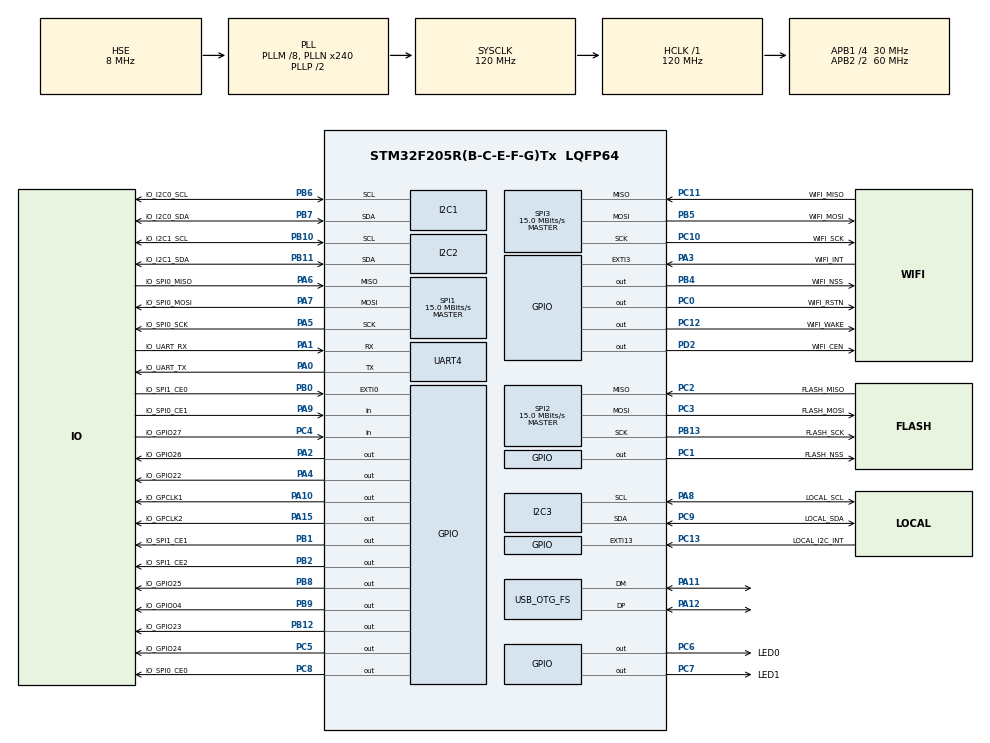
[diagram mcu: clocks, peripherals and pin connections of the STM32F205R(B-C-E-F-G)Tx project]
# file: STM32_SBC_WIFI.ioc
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ADC1.Channel-1\#ChannelRegularConversion=ADC_CHANNEL_VBAT
ADC1.NbrOfConversionFlag=1
ADC1.master=1
FREERTOS.Tasks01=main_task,24,4192,StartMainTask,Default,NULL,Dynamic,NULL,NULL;wifi_task,24,1024,StartWifiTask,Default,NULL,Dynamic,NULL,NULL;lora_task,24,512,StartLoraTask,Default,NULL,Dynamic,NULL,NULL
FREERTOS.configCHECK_FOR_STACK_OVERFLOW=2
FREERTOS.configMAX_TASK_NAME_LEN=16
FREERTOS.configMINIMAL_STACK_SIZE=256
FREERTOS.configTOTAL_HEAP_SIZE=100000
FREERTOS.configUSE_MALLOC_FAILED_HOOK=1
FREERTOS.configUSE_NEWLIB_REENTRANT=1
Mcu.Family=STM32F2
Mcu.Name=STM32F205R(B-C-E-F-G)Tx
Mcu.Package=LQFP64
NVIC.EXTI15_10_IRQn=true\:5\:0\:false\:false\:true\:true\:true\:true\:true
NVIC.EXTI3_IRQn=true\:5\:0\:false\:false\:true\:true\:true\:true\:true
NVIC.PriorityGroup=NVIC_PRIORITYGROUP_4
NVIC.RCC_IRQn=true\:5\:0\:false\:false\:true\:true\:true\:false\:true
NVIC.TIM1_UP_TIM10_IRQn=true\:15\:0\:false\:false\:true\:false\:false\:true\:true
NVIC.TIM6_DAC_IRQn=true\:5\:0\:false\:false\:true\:true\:true\:true\:true
NVIC.TIM7_IRQn=true\:5\:0\:false\:false\:true\:true\:true\:true\:true
NVIC.TimeBase=TIM1_UP_TIM10_IRQn
NVIC.TimeBaseIP=TIM1
PA0-WKUP.GPIO_Label=IO_UART_TX
PA0-WKUP.Mode=Asynchronous
PA0-WKUP.Signal=UART4_TX
PA1.GPIO_Label=IO_UART_RX
PA1.Mode=Asynchronous
PA1.Signal=UART4_RX
PA10.GPIO_Label=IO_GPCLK1
PA10.Signal=GPIO_Output
PA11.Mode=Device_Only
PA11.Signal=USB_OTG_FS_DM
PA12.Mode=Device_Only
PA12.Signal=USB_OTG_FS_DP
PA13.Mode=Serial_Wire
PA13.Signal=SYS_JTMS-SWDIO
PA14.Mode=Serial_Wire
PA14.Signal=SYS_JTCK-SWCLK
PA15.GPIO_Label=IO_GPCLK2
PA15.Signal=GPIO_Output
PA2.GPIO_Label=IO_GPIO26
PA2.Signal=GPIO_Output
PA3.GPIO_Label=WIFI_INT
PA3.GPIO_ModeDefaultEXTI=GPIO_MODE_IT_FALLING
PA3.GPIO_PuPd=GPIO_PULLUP
PA3.Signal=GPXTI3
PA4.GPIO_Label=IO_GPIO22
PA4.Signal=GPIO_Output
PA5.GPIO_Label=IO_SPI0_SCK
PA5.GPIO_Speed=GPIO_SPEED_FREQ_LOW
PA5.Mode=Full_Duplex_Master
PA5.Signal=SPI1_SCK
PA6.GPIO_Label=IO_SPI0_MISO
PA6.GPIO_Speed=GPIO_SPEED_FREQ_LOW
PA6.Mode=Full_Duplex_Master
PA6.Signal=SPI1_MISO
PA7.GPIO_Label=IO_SPI0_MOSI
PA7.GPIO_Speed=GPIO_SPEED_FREQ_LOW
PA7.Mode=Full_Duplex_Master
PA7.Signal=SPI1_MOSI
PA8.GPIO_Label=LOCAL_SCL
PA8.GPIO_Pu=GPIO_PULLUP
PA8.Mode=I2C
PA8.Signal=I2C3_SCL
PA9.GPIO_Label=IO_SPI0_CE1
PA9.GPIO_PuPd=GPIO_PULLUP
PA9.Signal=GPIO_Input
PB0.GPIO_Label=IO_SPI1_CE0
PB0.GPIO_PuPd=GPIO_PULLUP
PB0.Signal=GPXTI0
PB1.GPIO_Label=IO_SPI1_CE1
PB1.Signal=GPIO_Output
PB10.GPIO_Label=IO_I2C1_SCL
PB10.GPIO_Pu=GPIO_PULLUP
PB10.Mode=I2C
PB10.Signal=I2C2_SCL
PB11.GPIO_Label=IO_I2C1_SDA
PB11.GPIO_Pu=GPIO_PULLUP
PB11.Mode=I2C
PB11.Signal=I2C2_SDA
PB12.GPIO_Label=IO_GPIO23
PB12.GPIO_ModeDefaultOutputPP=GPIO_MODE_OUTPUT_OD
PB12.GPIO_PuPd=GPIO_NOPULL
PB12.Signal=GPIO_Output
PB13.GPIO_Label=FLASH_SCK
PB13.GPIO_Speed=GPIO_SPEED_FREQ_LOW
PB13.Mode=Full_Duplex_Master
PB13.Signal=SPI2_SCK
PB14.GPIO_Label=IO_PWM0
PB14.Signal=S_TIM12_CH1
PB15.GPIO_Label=IO_PWM1
PB15.Signal=S_TIM12_CH2
PB2.GPIO_Label=IO_SPI1_CE2
PB2.Signal=GPIO_Output
PB3.Signal=SYS_JTDO-SWO
PB4.GPIO_Label=WIFI_NSS
PB4.GPIO_Speed=GPIO_SPEED_FREQ_VERY_HIGH
PB4.PinState=GPIO_PIN_SET
PB4.Signal=GPIO_Output
PB5.GPIO_Label=WIFI_MOSI
PB5.GPIO_PuPd=GPIO_PULLDOWN
PB5.Mode=Full_Duplex_Master
PB5.Signal=SPI3_MOSI
PB6.GPIO_Label=IO_I2C0_SCL
PB6.GPIO_Pu=GPIO_PULLUP
PB6.Mode=I2C
PB6.Signal=I2C1_SCL
PB7.GPIO_Label=IO_I2C0_SDA
PB7.GPIO_Pu=GPIO_PULLUP
PB7.Mode=I2C
PB7.Signal=I2C1_SDA
PB8.GPIO_Label=IO_GPIO25
PB8.Signal=GPIO_Output
PB9.GPIO_Label=IO_GPIO04
PB9.Signal=GPIO_Output
PC0.GPIO_Label=WIFI_RSTN
PC0.Signal=GPIO_Output
PC1.GPIO_Label=FLASH_NSS
PC1.GPIO_Speed=GPIO_SPEED_FREQ_VERY_HIGH
PC1.PinState=GPIO_PIN_SET
PC1.Signal=GPIO_Output
PC10.GPIO_Label=WIFI_SCK
PC10.GPIO_PuPd=GPIO_PULLDOWN
PC10.GPIO_Speed=GPIO_SPEED_FREQ_VERY_HIGH
PC10.Mode=Full_Duplex_Master
PC10.Signal=SPI3_SCK
PC11.GPIO_Label=WIFI_MISO
PC11.GPIO_PuPd=GPIO_PULLDOWN
PC11.Mode=Full_Duplex_Master
PC11.Signal=SPI3_MISO
PC12.GPIO_Label=WIFI_WAKE
PC12.PinState=GPIO_PIN_RESET
PC12.Signal=GPIO_Output
PC13.GPIO_Label=LOCAL_I2C_INT
PC13.GPIO_ModeDefaultEXTI=GPIO_MODE_IT_FALLING
PC13.GPIO_PuPd=GPIO_PULLUP
PC13.Signal=GPXTI13
PC14-OSC32_IN.Mode=LSE-External-Oscillator
PC14-OSC32_IN.Signal=RCC_OSC32_IN
PC15-OSC32_OUT.Mode=LSE-External-Oscillator
PC15-OSC32_OUT.Signal=RCC_OSC32_OUT
PC2.GPIO_Label=FLASH_MISO
PC2.GPIO_Speed=GPIO_SPEED_FREQ_LOW
PC2.Mode=Full_Duplex_Master
PC2.Signal=SPI2_MISO
PC3.GPIO_Label=FLASH_MOSI
PC3.GPIO_Speed=GPIO_SPEED_FREQ_LOW
PC3.Mode=Full_Duplex_Master
PC3.Signal=SPI2_MOSI
PC4.GPIO_Label=IO_GPIO27
PC4.GPIO_PuPd=GPIO_PULLUP
PC4.Signal=GPIO_Input
PC5.GPIO_Label=IO_GPIO24
PC5.GPIO_ModeDefaultOutputPP=GPIO_MODE_OUTPUT_OD
PC5.GPIO_PuPd=GPIO_NOPULL
PC5.Signal=GPIO_Output
PC6.GPIO_Label=LED0
PC6.GPIO_ModeDefaultOutputPP=GPIO_MODE_OUTPUT_OD
PC6.GPIO_PuPd=GPIO_NOPULL
PC6.PinState=GPIO_PIN_SET
PC6.Signal=GPIO_Output
PC7.GPIO_Label=LED1
PC7.GPIO_ModeDefaultOutputPP=GPIO_MODE_OUTPUT_OD
PC7.GPIO_PuPd=GPIO_NOPULL
PC7.PinState=GPIO_PIN_SET
PC7.Signal=GPIO_Output
PC8.GPIO_Label=IO_SPI0_CE0
PC8.Signal=GPIO_Output
PC9.GPIO_Label=LOCAL_SDA
PC9.GPIO_Pu=GPIO_PULLUP
PC9.Mode=I2C
PC9.Signal=I2C3_SDA
PD2.GPIO_Label=WIFI_CEN
PD2.Signal=GPIO_Output
PH0-OSC_IN.Mode=HSE-External-Oscillator
PH0-OSC_IN.Signal=RCC_OSC_IN
PH1-OSC_OUT.Mode=HSE-External-Oscillator
PH1-OSC_OUT.Signal=RCC_OSC_OUT
ProjectManager.HeapSize=0x0
ProjectManager.StackSize=0x100
ProjectManager.TargetToolchain=STM32CubeIDE
RCC.48MHZClocksFreq_Value=48000000
RCC.AHBFreq_Value=120000000
RCC.APB1CLKDivider=RCC_HCLK_DIV4
RCC.APB1Freq_Value=30000000
RCC.APB1TimFreq_Value=60000000
RCC.APB2CLKDivider=RCC_HCLK_DIV2
RCC.APB2Freq_Value=60000000
RCC.APB2TimFreq_Value=120000000
RCC.CortexFreq_Value=120000000
RCC.HCLKFreq_Value=120000000
RCC.HSE_VALUE=8000000
RCC.HSI_VALUE=16000000
RCC.MSIAutoCalibration=DISABLED
RCC.MSICalibrationValue=0
RCC.PLLM=8
RCC.PLLN=240
RCC.PLLQ=5
RCC.PLLSourceVirtual=RCC_PLLSOURCE_HSE
RCC.PWR_Regulator_Voltage_Scale=PWR_REGULATOR_VOLTAGE_SCALE1
RCC.RCC_RTC_Clock_SourceVirtual=RCC_RTCCLKSOURCE_LSE
RCC.SYSCLKFreq_VALUE=120000000
RCC.SYSCLKSource=RCC_SYSCLKSOURCE_PLLCLK
RCC.VCOOutputFreq_Value=240000000
SH.S_TIM12_CH1.0=TIM12_CH1
SH.S_TIM12_CH2.0=TIM12_CH2
SPI1.BaudRatePrescaler=SPI_BAUDRATEPRESCALER_4
SPI1.CalculateBaudRate=15.0 MBits/s
SPI1.DataSize=SPI_DATASIZE_16BIT
SPI1.Direction=SPI_DIRECTION_2LINES
SPI1.Mode=SPI_MODE_MASTER
SPI1.VirtualType=VM_MASTER
SPI2.BaudRatePrescaler=SPI_BAUDRATEPRESCALER_2
SPI2.CalculateBaudRate=15.0 MBits/s
SPI2.Direction=SPI_DIRECTION_2LINES
SPI2.Mode=SPI_MODE_MASTER
SPI2.VirtualType=VM_MASTER
SPI3.BaudRatePrescaler=SPI_BAUDRATEPRESCALER_2
SPI3.CLKPhase=SPI_PHASE_1EDGE
SPI3.CLKPolarity=SPI_POLARITY_LOW
SPI3.CalculateBaudRate=15.0 MBits/s
SPI3.Direction=SPI_DIRECTION_2LINES
SPI3.Mode=SPI_MODE_MASTER
SPI3.VirtualType=VM_MASTER
TIM6.AutoReloadPreload=TIM_AUTORELOAD_PRELOAD_ENABLE
TIM6.Prescaler=120
TIM7.AutoReloadPreload=TIM_AUTORELOAD_PRELOAD_ENABLE
TIM7.Prescaler=120
UART4.VirtualMode=Asynchronous
USB_OTG_FS.VirtualMode=Device_Only
VP_ADC1_Vbat_Input.Mode=IN-Vbat
VP_FREERTOS_VS_CMSIS_V2.Mode=CMSIS_V2
VP_RNG_VS_RNG.Mode=RNG_Activate
VP_RTC_VS_RTC_Activate.Mode=RTC_Enabled
VP_SYS_VS_tim1.Mode=TIM1
VP_TIM6_VS_ClockSourceINT.Mode=Enable_Timer
VP_TIM7_VS_ClockSourceINT.Mode=Enable_Timer
VP_wolfSSL.I-CUBE-wolfSSH_VS_wolfSSHJjwolfSSH_1.4.15_1.4.15.Mode=wolfSSHJjwolfSSH
VP_wolfSSL.I-CUBE-wolfSSL_VS_wolfSSLJjwolfSSL_5.6.6_5.6.6.Mode=wolfSSLJjwolfSSL
board=custom
wolfSSL.I-CUBE-wolfSSH.1.4.15.WOLFSSH_CONF_IO=1
wolfSSL.I-CUBE-wolfSSH.1.4.15.wolfSSHCcwolfSSHJjwolfSSHJjCore=true
wolfSSL.I-CUBE-wolfSSH.1.4.15.wolfSSHCcwolfSSHJjwolfSSHJjTest=true
wolfSSL.I-CUBE-wolfSSL.5.6.6.wolfSSLCcwolfSSLJjwolfCryptJjCore=true
wolfSSL.I-CUBE-wolfSSL.5.6.6.wolfSSLCcwolfSSLJjwolfCryptJjTest=true
wolfSSL.I-CUBE-wolfSSL.5.6.6.wolfSSLCcwolfSSLJjwolfSSLJjCore=true

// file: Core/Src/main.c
/* USER CODE BEGIN Header */
/**
  ******************************************************************************
  * @file           : main.c
  * @brief          : Main program body
  ******************************************************************************
  * @attention
  *
  * Copyright (c) 2023 STMicroelectronics.
  * All rights reserved.
  *
  * This software is licensed under terms that can be found in the LICENSE file
  * in the root directory of this software component.
  * If no LICENSE file comes with this software, it is provided AS-IS.
  *
  ******************************************************************************
  */
/* USER CODE END Header */
#include "main.h"
#include "cmsis_os.h"

ADC_HandleTypeDef hadc1;

I2C_HandleTypeDef hi2c1;
I2C_HandleTypeDef hi2c2;
I2C_HandleTypeDef hi2c3;

RNG_HandleTypeDef hrng;

RTC_HandleTypeDef hrtc;

SPI_HandleTypeDef hspi1;
SPI_HandleTypeDef hspi2;
SPI_HandleTypeDef hspi3;

TIM_HandleTypeDef htim6;
TIM_HandleTypeDef htim7;

UART_HandleTypeDef huart4;

PCD_HandleTypeDef hpcd_USB_OTG_FS;

/* Definitions for main_task */
osThreadId_t main_taskHandle;
const osThreadAttr_t main_task_attributes = {
  .name = "main_task",
  .stack_size = 4192 * 4,
  .priority = (osPriority_t) osPriorityNormal,
};
/* Definitions for wifi_task */
osThreadId_t wifi_taskHandle;
const osThreadAttr_t wifi_task_attributes = {
  .name = "wifi_task",
  .stack_size = 1024 * 4,
  .priority = (osPriority_t) osPriorityNormal,
};
/* Definitions for lora_task */
osThreadId_t lora_taskHandle;
const osThreadAttr_t lora_task_attributes = {
  .name = "lora_task",
  .stack_size = 512 * 4,
  .priority = (osPriority_t) osPriorityNormal,
};

void SystemClock_Config(void);
static void MX_GPIO_Init(void);
static void MX_ADC1_Init(void);
static void MX_RTC_Init(void);
static void MX_I2C1_Init(void);
static void MX_I2C2_Init(void);
static void MX_SPI1_Init(void);
static void MX_SPI2_Init(void);
static void MX_SPI3_Init(void);
static void MX_UART4_Init(void);
static void MX_I2C3_Init(void);
static void MX_TIM6_Init(void);
static void MX_TIM7_Init(void);
static void MX_RNG_Init(void);
static void MX_USB_OTG_FS_PCD_Init(void);
void StartMainTask(void *argument);
void StartWifiTask(void *argument);
void StartLoraTask(void *argument);

/* USER CODE BEGIN PFP */
void main_task(void);
void wifi_task(void);
void lora_task(void);
/* USER CODE END PFP */

/* USER CODE BEGIN 0 */
#include "wifi.h"
#include "nfc.h"

void HAL_GPIO_EXTI_Callback(uint16_t GPIO_Pin)
{
	if(GPIO_Pin == WIFI_INT_Pin)
    {
		wifi_interrupt_pending();
    }
	if(GPIO_Pin == LOCAL_I2C_INT_Pin)
	{
		NFC_InterfaceISR();
	}
}

/* USER CODE END 0 */

int main(void)
{

  /* MCU Configuration--------------------------------------------------------*/

  /* Reset of all peripherals, Initializes the Flash interface and the Systick. */
  HAL_Init();

  /* Configure the system clock */
  SystemClock_Config();

  /* Initialize all configured peripherals */
  MX_GPIO_Init();
  MX_ADC1_Init();
  MX_RTC_Init();
  MX_I2C1_Init();
  MX_I2C2_Init();
  MX_SPI1_Init();
  MX_SPI2_Init();
  MX_SPI3_Init();
  MX_UART4_Init();
  MX_I2C3_Init();
  MX_TIM6_Init();
  MX_TIM7_Init();
  MX_RNG_Init();
  MX_USB_OTG_FS_PCD_Init();

  /* Init scheduler */
  osKernelInitialize();

  /* Create the thread(s) */
  /* creation of main_task */
  main_taskHandle = osThreadNew(StartMainTask, NULL, &main_task_attributes);

  /* creation of wifi_task */
  wifi_taskHandle = osThreadNew(StartWifiTask, NULL, &wifi_task_attributes);

  /* creation of lora_task */
  lora_taskHandle = osThreadNew(StartLoraTask, NULL, &lora_task_attributes);

  /* Start scheduler */
  osKernelStart();
  /* We should never get here as control is now taken by the scheduler */
  /* Infinite loop */
	while (1)
	{

  }
}

void SystemClock_Config(void)
{
  RCC_OscInitTypeDef RCC_OscInitStruct = {0};
  RCC_ClkInitTypeDef RCC_ClkInitStruct = {0};
  RCC_PeriphCLKInitTypeDef PeriphClkInitStruct = {0};

  /** Initializes the RCC Oscillators according to the specified parameters
  * in the RCC_OscInitTypeDef structure.
  */
  RCC_OscInitStruct.OscillatorType = RCC_OSCILLATORTYPE_HSE|RCC_OSCILLATORTYPE_LSE;
  RCC_OscInitStruct.HSEState = RCC_HSE_ON;
  RCC_OscInitStruct.LSEState = RCC_LSE_ON;
  RCC_OscInitStruct.PLL.PLLState = RCC_PLL_ON;
  RCC_OscInitStruct.PLL.PLLSource = RCC_PLLSOURCE_HSE;
  RCC_OscInitStruct.PLL.PLLM = 8;
  RCC_OscInitStruct.PLL.PLLN = 240;
  RCC_OscInitStruct.PLL.PLLP = RCC_PLLP_DIV2;
  RCC_OscInitStruct.PLL.PLLQ = 5;
  if (HAL_RCC_OscConfig(&RCC_OscInitStruct) != HAL_OK)
  {
    Error_Handler();
  }

  /** Initializes the CPU, AHB and APB buses clocks
  */
  RCC_ClkInitStruct.ClockType = RCC_CLOCKTYPE_HCLK|RCC_CLOCKTYPE_SYSCLK
                              |RCC_CLOCKTYPE_PCLK1|RCC_CLOCKTYPE_PCLK2;
  RCC_ClkInitStruct.SYSCLKSource = RCC_SYSCLKSOURCE_PLLCLK;
  RCC_ClkInitStruct.AHBCLKDivider = RCC_SYSCLK_DIV1;
  RCC_ClkInitStruct.APB1CLKDivider = RCC_HCLK_DIV4;
  RCC_ClkInitStruct.APB2CLKDivider = RCC_HCLK_DIV2;

  if (HAL_RCC_ClockConfig(&RCC_ClkInitStruct, FLASH_LATENCY_3) != HAL_OK)
  {
    Error_Handler();
  }
  PeriphClkInitStruct.PeriphClockSelection = RCC_PERIPHCLK_RTC;
  PeriphClkInitStruct.RTCClockSelection = RCC_RTCCLKSOURCE_LSE;
  if (HAL_RCCEx_PeriphCLKConfig(&PeriphClkInitStruct) != HAL_OK)
  {
    Error_Handler();
  }
}

static void MX_ADC1_Init(void)
{

  ADC_ChannelConfTypeDef sConfig = {0};

  /** Configure the global features of the ADC (Clock, Resolution, Data Alignment and number of conversion)
  */
  hadc1.Instance = ADC1;
  hadc1.Init.ClockPrescaler = ADC_CLOCK_SYNC_PCLK_DIV2;
  hadc1.Init.Resolution = ADC_RESOLUTION_12B;
  hadc1.Init.ScanConvMode = DISABLE;
  hadc1.Init.ContinuousConvMode = DISABLE;
  hadc1.Init.DiscontinuousConvMode = DISABLE;
  hadc1.Init.ExternalTrigConvEdge = ADC_EXTERNALTRIGCONVEDGE_NONE;
  hadc1.Init.ExternalTrigConv = ADC_SOFTWARE_START;
  hadc1.Init.DataAlign = ADC_DATAALIGN_RIGHT;
  hadc1.Init.NbrOfConversion = 1;
  hadc1.Init.DMAContinuousRequests = DISABLE;
  hadc1.Init.EOCSelection = ADC_EOC_SINGLE_CONV;
  if (HAL_ADC_Init(&hadc1) != HAL_OK)
  {
    Error_Handler();
  }

  /** Configure for the selected ADC regular channel its corresponding rank in the sequencer and its sample time.
  */
  sConfig.Channel = ADC_CHANNEL_VBAT;
  sConfig.Rank = 1;
  sConfig.SamplingTime = ADC_SAMPLETIME_3CYCLES;
  if (HAL_ADC_ConfigChannel(&hadc1, &sConfig) != HAL_OK)
  {
    Error_Handler();
  }

}

static void MX_I2C1_Init(void)
{

  hi2c1.Instance = I2C1;
  hi2c1.Init.ClockSpeed = 100000;
  hi2c1.Init.DutyCycle = I2C_DUTYCYCLE_2;
  hi2c1.Init.OwnAddress1 = 0;
  hi2c1.Init.AddressingMode = I2C_ADDRESSINGMODE_7BIT;
  hi2c1.Init.DualAddressMode = I2C_DUALADDRESS_DISABLE;
  hi2c1.Init.OwnAddress2 = 0;
  hi2c1.Init.GeneralCallMode = I2C_GENERALCALL_DISABLE;
  hi2c1.Init.NoStretchMode = I2C_NOSTRETCH_DISABLE;
  if (HAL_I2C_Init(&hi2c1) != HAL_OK)
  {
    Error_Handler();
  }

}

static void MX_I2C2_Init(void)
{

  hi2c2.Instance = I2C2;
  hi2c2.Init.ClockSpeed = 100000;
  hi2c2.Init.DutyCycle = I2C_DUTYCYCLE_2;
  hi2c2.Init.OwnAddress1 = 0;
  hi2c2.Init.AddressingMode = I2C_ADDRESSINGMODE_7BIT;
  hi2c2.Init.DualAddressMode = I2C_DUALADDRESS_DISABLE;
  hi2c2.Init.OwnAddress2 = 0;
  hi2c2.Init.GeneralCallMode = I2C_GENERALCALL_DISABLE;
  hi2c2.Init.NoStretchMode = I2C_NOSTRETCH_DISABLE;
  if (HAL_I2C_Init(&hi2c2) != HAL_OK)
  {
    Error_Handler();
  }

}

static void MX_I2C3_Init(void)
{

  hi2c3.Instance = I2C3;
  hi2c3.Init.ClockSpeed = 100000;
  hi2c3.Init.DutyCycle = I2C_DUTYCYCLE_2;
  hi2c3.Init.OwnAddress1 = 0;
  hi2c3.Init.AddressingMode = I2C_ADDRESSINGMODE_7BIT;
  hi2c3.Init.DualAddressMode = I2C_DUALADDRESS_DISABLE;
  hi2c3.Init.OwnAddress2 = 0;
  hi2c3.Init.GeneralCallMode = I2C_GENERALCALL_DISABLE;
  hi2c3.Init.NoStretchMode = I2C_NOSTRETCH_DISABLE;
  if (HAL_I2C_Init(&hi2c3) != HAL_OK)
  {
    Error_Handler();
  }

}

static void MX_RNG_Init(void)
{

  hrng.Instance = RNG;
  if (HAL_RNG_Init(&hrng) != HAL_OK)
  {
    Error_Handler();
  }

}

static void MX_RTC_Init(void)
{

  /** Initialize RTC Only
  */
  hrtc.Instance = RTC;
  hrtc.Init.HourFormat = RTC_HOURFORMAT_24;
  hrtc.Init.AsynchPrediv = 127;
  hrtc.Init.SynchPrediv = 255;
  hrtc.Init.OutPut = RTC_OUTPUT_DISABLE;
  hrtc.Init.OutPutPolarity = RTC_OUTPUT_POLARITY_HIGH;
  hrtc.Init.OutPutType = RTC_OUTPUT_TYPE_OPENDRAIN;
  if (HAL_RTC_Init(&hrtc) != HAL_OK)
  {
    Error_Handler();
  }

}

static void MX_SPI1_Init(void)
{

  /* SPI1 parameter configuration*/
  hspi1.Instance = SPI1;
  hspi1.Init.Mode = SPI_MODE_MASTER;
  hspi1.Init.Direction = SPI_DIRECTION_2LINES;
  hspi1.Init.DataSize = SPI_DATASIZE_16BIT;
  hspi1.Init.CLKPolarity = SPI_POLARITY_LOW;
  hspi1.Init.CLKPhase = SPI_PHASE_1EDGE;
  hspi1.Init.NSS = SPI_NSS_SOFT;
  hspi1.Init.BaudRatePrescaler = SPI_BAUDRATEPRESCALER_4;
  hspi1.Init.FirstBit = SPI_FIRSTBIT_MSB;
  hspi1.Init.TIMode = SPI_TIMODE_DISABLE;
  hspi1.Init.CRCCalculation = SPI_CRCCALCULATION_DISABLE;
  hspi1.Init.CRCPolynomial = 10;
  if (HAL_SPI_Init(&hspi1) != HAL_OK)
  {
    Error_Handler();
  }

}

static void MX_SPI2_Init(void)
{

  /* SPI2 parameter configuration*/
  hspi2.Instance = SPI2;
  hspi2.Init.Mode = SPI_MODE_MASTER;
  hspi2.Init.Direction = SPI_DIRECTION_2LINES;
  hspi2.Init.DataSize = SPI_DATASIZE_8BIT;
  hspi2.Init.CLKPolarity = SPI_POLARITY_LOW;
  hspi2.Init.CLKPhase = SPI_PHASE_1EDGE;
  hspi2.Init.NSS = SPI_NSS_SOFT;
  hspi2.Init.BaudRatePrescaler = SPI_BAUDRATEPRESCALER_2;
  hspi2.Init.FirstBit = SPI_FIRSTBIT_MSB;
  hspi2.Init.TIMode = SPI_TIMODE_DISABLE;
  hspi2.Init.CRCCalculation = SPI_CRCCALCULATION_DISABLE;
  hspi2.Init.CRCPolynomial = 10;
  if (HAL_SPI_Init(&hspi2) != HAL_OK)
  {
    Error_Handler();
  }

}

static void MX_SPI3_Init(void)
{

  /* SPI3 parameter configuration*/
  hspi3.Instance = SPI3;
  hspi3.Init.Mode = SPI_MODE_MASTER;
  hspi3.Init.Direction = SPI_DIRECTION_2LINES;
  hspi3.Init.DataSize = SPI_DATASIZE_8BIT;
  hspi3.Init.CLKPolarity = SPI_POLARITY_LOW;
  hspi3.Init.CLKPhase = SPI_PHASE_1EDGE;
  hspi3.Init.NSS = SPI_NSS_SOFT;
  hspi3.Init.BaudRatePrescaler = SPI_BAUDRATEPRESCALER_2;
  hspi3.Init.FirstBit = SPI_FIRSTBIT_MSB;
  hspi3.Init.TIMode = SPI_TIMODE_DISABLE;
  hspi3.Init.CRCCalculation = SPI_CRCCALCULATION_DISABLE;
  hspi3.Init.CRCPolynomial = 10;
  if (HAL_SPI_Init(&hspi3) != HAL_OK)
  {
    Error_Handler();
  }

}

static void MX_TIM6_Init(void)
{

  TIM_MasterConfigTypeDef sMasterConfig = {0};

  htim6.Instance = TIM6;
  htim6.Init.Prescaler = 120;
  htim6.Init.CounterMode = TIM_COUNTERMODE_UP;
  htim6.Init.Period = 65535;
  htim6.Init.AutoReloadPreload = TIM_AUTORELOAD_PRELOAD_ENABLE;
  if (HAL_TIM_Base_Init(&htim6) != HAL_OK)
  {
    Error_Handler();
  }
  sMasterConfig.MasterOutputTrigger = TIM_TRGO_RESET;
  sMasterConfig.MasterSlaveMode = TIM_MASTERSLAVEMODE_DISABLE;
  if (HAL_TIMEx_MasterConfigSynchronization(&htim6, &sMasterConfig) != HAL_OK)
  {
    Error_Handler();
  }

}

static void MX_TIM7_Init(void)
{

  TIM_MasterConfigTypeDef sMasterConfig = {0};

  htim7.Instance = TIM7;
  htim7.Init.Prescaler = 120;
  htim7.Init.CounterMode = TIM_COUNTERMODE_UP;
  htim7.Init.Period = 65535;
  htim7.Init.AutoReloadPreload = TIM_AUTORELOAD_PRELOAD_ENABLE;
  if (HAL_TIM_Base_Init(&htim7) != HAL_OK)
  {
    Error_Handler();
  }
  sMasterConfig.MasterOutputTrigger = TIM_TRGO_RESET;
  sMasterConfig.MasterSlaveMode = TIM_MASTERSLAVEMODE_DISABLE;
  if (HAL_TIMEx_MasterConfigSynchronization(&htim7, &sMasterConfig) != HAL_OK)
  {
    Error_Handler();
  }

}

static void MX_UART4_Init(void)
{

  huart4.Instance = UART4;
  huart4.Init.BaudRate = 115200;
  huart4.Init.WordLength = UART_WORDLENGTH_8B;
  huart4.Init.StopBits = UART_STOPBITS_1;
  huart4.Init.Parity = UART_PARITY_NONE;
  huart4.Init.Mode = UART_MODE_TX_RX;
  huart4.Init.HwFlowCtl = UART_HWCONTROL_NONE;
  huart4.Init.OverSampling = UART_OVERSAMPLING_16;
  if (HAL_UART_Init(&huart4) != HAL_OK)
  {
    Error_Handler();
  }

}

static void MX_USB_OTG_FS_PCD_Init(void)
{

  hpcd_USB_OTG_FS.Instance = USB_OTG_FS;
  hpcd_USB_OTG_FS.Init.dev_endpoints = 4;
  hpcd_USB_OTG_FS.Init.speed = PCD_SPEED_FULL;
  hpcd_USB_OTG_FS.Init.dma_enable = DISABLE;
  hpcd_USB_OTG_FS.Init.phy_itface = PCD_PHY_EMBEDDED;
  hpcd_USB_OTG_FS.Init.Sof_enable = DISABLE;
  hpcd_USB_OTG_FS.Init.low_power_enable = DISABLE;
  hpcd_USB_OTG_FS.Init.vbus_sensing_enable = DISABLE;
  hpcd_USB_OTG_FS.Init.use_dedicated_ep1 = DISABLE;
  if (HAL_PCD_Init(&hpcd_USB_OTG_FS) != HAL_OK)
  {
    Error_Handler();
  }

}

static void MX_GPIO_Init(void)
{
  GPIO_InitTypeDef GPIO_InitStruct = {0};

  /* GPIO Ports Clock Enable */
  __HAL_RCC_GPIOC_CLK_ENABLE();
  __HAL_RCC_GPIOH_CLK_ENABLE();
  __HAL_RCC_GPIOA_CLK_ENABLE();
  __HAL_RCC_GPIOB_CLK_ENABLE();
  __HAL_RCC_GPIOD_CLK_ENABLE();

  /*Configure GPIO pin Output Level */
  HAL_GPIO_WritePin(GPIOC, WIFI_RSTN_Pin|IO_GPIO24_Pin|IO_SPI0_CE0_Pin|WIFI_WAKE_Pin, GPIO_PIN_RESET);

  /*Configure GPIO pin Output Level */
  HAL_GPIO_WritePin(GPIOC, FLASH_NSS_Pin|LED0_Pin|LED1_Pin, GPIO_PIN_SET);

  /*Configure GPIO pin Output Level */
  HAL_GPIO_WritePin(GPIOA, IO_GPIO26_Pin|IO_GPIO22_Pin|IO_GPCLK1_Pin|IO_GPCLK2_Pin, GPIO_PIN_RESET);

  /*Configure GPIO pin Output Level */
  HAL_GPIO_WritePin(GPIOB, IO_SPI1_CE1_Pin|IO_SPI1_CE2_Pin|IO_GPIO23_Pin|IO_GPIO25_Pin
                          |IO_GPIO04_Pin, GPIO_PIN_RESET);

  /*Configure GPIO pin Output Level */
  HAL_GPIO_WritePin(WIFI_CEN_GPIO_Port, WIFI_CEN_Pin, GPIO_PIN_RESET);

  /*Configure GPIO pin Output Level */
  HAL_GPIO_WritePin(WIFI_NSS_GPIO_Port, WIFI_NSS_Pin, GPIO_PIN_SET);

  /*Configure GPIO pin : LOCAL_I2C_INT_Pin */
  GPIO_InitStruct.Pin = LOCAL_I2C_INT_Pin;
  GPIO_InitStruct.Mode = GPIO_MODE_IT_FALLING;
  GPIO_InitStruct.Pull = GPIO_PULLUP;
  HAL_GPIO_Init(LOCAL_I2C_INT_GPIO_Port, &GPIO_InitStruct);

  /*Configure GPIO pins : WIFI_RSTN_Pin IO_SPI0_CE0_Pin WIFI_WAKE_Pin */
  GPIO_InitStruct.Pin = WIFI_RSTN_Pin|IO_SPI0_CE0_Pin|WIFI_WAKE_Pin;
  GPIO_InitStruct.Mode = GPIO_MODE_OUTPUT_PP;
  GPIO_InitStruct.Pull = GPIO_NOPULL;
  GPIO_InitStruct.Speed = GPIO_SPEED_FREQ_LOW;
  HAL_GPIO_Init(GPIOC, &GPIO_InitStruct);

  /*Configure GPIO pin : FLASH_NSS_Pin */
  GPIO_InitStruct.Pin = FLASH_NSS_Pin;
  GPIO_InitStruct.Mode = GPIO_MODE_OUTPUT_PP;
  GPIO_InitStruct.Pull = GPIO_NOPULL;
  GPIO_InitStruct.Speed = GPIO_SPEED_FREQ_VERY_HIGH;
  HAL_GPIO_Init(FLASH_NSS_GPIO_Port, &GPIO_InitStruct);

  /*Configure GPIO pins : IO_GPIO26_Pin IO_GPIO22_Pin IO_GPCLK1_Pin IO_GPCLK2_Pin */
  GPIO_InitStruct.Pin = IO_GPIO26_Pin|IO_GPIO22_Pin|IO_GPCLK1_Pin|IO_GPCLK2_Pin;
  GPIO_InitStruct.Mode = GPIO_MODE_OUTPUT_PP;
  GPIO_InitStruct.Pull = GPIO_NOPULL;
  GPIO_InitStruct.Speed = GPIO_SPEED_FREQ_LOW;
  HAL_GPIO_Init(GPIOA, &GPIO_InitStruct);

  /*Configure GPIO pin : WIFI_INT_Pin */
  GPIO_InitStruct.Pin = WIFI_INT_Pin;
  GPIO_InitStruct.Mode = GPIO_MODE_IT_FALLING;
  GPIO_InitStruct.Pull = GPIO_PULLUP;
  HAL_GPIO_Init(WIFI_INT_GPIO_Port, &GPIO_InitStruct);

  /*Configure GPIO pin : IO_GPIO27_Pin */
  GPIO_InitStruct.Pin = IO_GPIO27_Pin;
  GPIO_InitStruct.Mode = GPIO_MODE_INPUT;
  GPIO_InitStruct.Pull = GPIO_PULLUP;
  HAL_GPIO_Init(IO_GPIO27_GPIO_Port, &GPIO_InitStruct);

  /*Configure GPIO pins : IO_GPIO24_Pin LED0_Pin LED1_Pin */
  GPIO_InitStruct.Pin = IO_GPIO24_Pin|LED0_Pin|LED1_Pin;
  GPIO_InitStruct.Mode = GPIO_MODE_OUTPUT_OD;
  GPIO_InitStruct.Pull = GPIO_NOPULL;
  GPIO_InitStruct.Speed = GPIO_SPEED_FREQ_LOW;
  HAL_GPIO_Init(GPIOC, &GPIO_InitStruct);

  /*Configure GPIO pin : IO_SPI1_CE0_Pin */
  GPIO_InitStruct.Pin = IO_SPI1_CE0_Pin;
  GPIO_InitStruct.Mode = GPIO_MODE_IT_RISING;
  GPIO_InitStruct.Pull = GPIO_PULLUP;
  HAL_GPIO_Init(IO_SPI1_CE0_GPIO_Port, &GPIO_InitStruct);

  /*Configure GPIO pins : IO_SPI1_CE1_Pin IO_SPI1_CE2_Pin IO_GPIO25_Pin IO_GPIO04_Pin */
  GPIO_InitStruct.Pin = IO_SPI1_CE1_Pin|IO_SPI1_CE2_Pin|IO_GPIO25_Pin|IO_GPIO04_Pin;
  GPIO_InitStruct.Mode = GPIO_MODE_OUTPUT_PP;
  GPIO_InitStruct.Pull = GPIO_NOPULL;
  GPIO_InitStruct.Speed = GPIO_SPEED_FREQ_LOW;
  HAL_GPIO_Init(GPIOB, &GPIO_InitStruct);

  /*Configure GPIO pin : IO_GPIO23_Pin */
  GPIO_InitStruct.Pin = IO_GPIO23_Pin;
  GPIO_InitStruct.Mode = GPIO_MODE_OUTPUT_OD;
  GPIO_InitStruct.Pull = GPIO_NOPULL;
  GPIO_InitStruct.Speed = GPIO_SPEED_FREQ_LOW;
  HAL_GPIO_Init(IO_GPIO23_GPIO_Port, &GPIO_InitStruct);

  /*Configure GPIO pins : IO_PWM0_Pin IO_PWM1_Pin */
  GPIO_InitStruct.Pin = IO_PWM0_Pin|IO_PWM1_Pin;
  GPIO_InitStruct.Mode = GPIO_MODE_AF_PP;
  GPIO_InitStruct.Pull = GPIO_NOPULL;
  GPIO_InitStruct.Speed = GPIO_SPEED_FREQ_LOW;
  GPIO_InitStruct.Alternate = GPIO_AF9_TIM12;
  HAL_GPIO_Init(GPIOB, &GPIO_InitStruct);

  /*Configure GPIO pin : IO_SPI0_CE1_Pin */
  GPIO_InitStruct.Pin = IO_SPI0_CE1_Pin;
  GPIO_InitStruct.Mode = GPIO_MODE_INPUT;
  GPIO_InitStruct.Pull = GPIO_PULLUP;
  HAL_GPIO_Init(IO_SPI0_CE1_GPIO_Port, &GPIO_InitStruct);

  /*Configure GPIO pin : WIFI_CEN_Pin */
  GPIO_InitStruct.Pin = WIFI_CEN_Pin;
  GPIO_InitStruct.Mode = GPIO_MODE_OUTPUT_PP;
  GPIO_InitStruct.Pull = GPIO_NOPULL;
  GPIO_InitStruct.Speed = GPIO_SPEED_FREQ_LOW;
  HAL_GPIO_Init(WIFI_CEN_GPIO_Port, &GPIO_InitStruct);

  /*Configure GPIO pin : WIFI_NSS_Pin */
  GPIO_InitStruct.Pin = WIFI_NSS_Pin;
  GPIO_InitStruct.Mode = GPIO_MODE_OUTPUT_PP;
  GPIO_InitStruct.Pull = GPIO_NOPULL;
  GPIO_InitStruct.Speed = GPIO_SPEED_FREQ_VERY_HIGH;
  HAL_GPIO_Init(WIFI_NSS_GPIO_Port, &GPIO_InitStruct);

  /* EXTI interrupt init*/
  HAL_NVIC_SetPriority(EXTI3_IRQn, 5, 0);
  HAL_NVIC_EnableIRQ(EXTI3_IRQn);

  HAL_NVIC_SetPriority(EXTI15_10_IRQn, 5, 0);
  HAL_NVIC_EnableIRQ(EXTI15_10_IRQn);

}

void StartMainTask(void *argument)
{
  /* USER CODE BEGIN 5 */
  main_task();
  /* Infinite loop */
  fprintf(stderr,"**** MAIN TASK EXITED ****\n");
  for(;;)
  {
    osDelay(1);
  }
  /* USER CODE END 5 */
}

void StartWifiTask(void *argument)
{
  /* USER CODE BEGIN StartWifiTask */
  wifi_task();
  /* Infinite loop */
  fprintf(stderr,"**** WIFI TASK EXITED ****\n");
  for(;;)
  {
    osDelay(1);
  }
  /* USER CODE END StartWifiTask */
}

void StartLoraTask(void *argument)
{
  /* USER CODE BEGIN StartLoraTask */
  lora_task();
  /* Infinite loop */
  fprintf(stderr,"**** LORA TASK EXITED ****\n");
  for(;;)
  {
    osDelay(1);
  }
  /* USER CODE END StartLoraTask */
}

void HAL_TIM_PeriodElapsedCallback(TIM_HandleTypeDef *htim)
{
  if (htim->Instance == TIM1) {
    HAL_IncTick();
  }
}

void Error_Handler(void)
{
  /* USER CODE BEGIN Error_Handler_Debug */
  MX_GPIO_Init();
  while (1)
  {
      HAL_GPIO_WritePin(LED0_GPIO_Port, LED0_Pin, 1);
      HAL_GPIO_WritePin(LED1_GPIO_Port, LED1_Pin, 1);
      HAL_Delay(100);
      HAL_GPIO_WritePin(LED0_GPIO_Port, LED0_Pin, 0);
      HAL_GPIO_WritePin(LED1_GPIO_Port, LED1_Pin, 0);
      HAL_Delay(100);
  }
  /* USER CODE END Error_Handler_Debug */
}

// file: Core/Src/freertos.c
/* USER CODE BEGIN Header */
/**
  ******************************************************************************
  * File Name          : freertos.c
  * Description        : Code for freertos applications
  ******************************************************************************
  * @attention
  *
  * Copyright (c) 2024 STMicroelectronics.
  * All rights reserved.
  *
  * This software is licensed under terms that can be found in the LICENSE file
  * in the root directory of this software component.
  * If no LICENSE file comes with this software, it is provided AS-IS.
  *
  ******************************************************************************
  */
/* USER CODE END Header */

#include "FreeRTOS.h"
#include "task.h"
#include "main.h"

/* Hook prototypes */
void vApplicationStackOverflowHook(xTaskHandle xTask, signed char *pcTaskName);
void vApplicationMallocFailedHook(void);

/* USER CODE BEGIN 4 */
#include <stdio.h>
void vApplicationStackOverflowHook(xTaskHandle xTask, signed char *pcTaskName)
{
   /* Run time stack overflow checking is performed if
   configCHECK_FOR_STACK_OVERFLOW is defined to 1 or 2. This hook function is
   called if a stack overflow is detected. */
	fprintf(stderr, "**** STACK OVERFLOW ****\n");
}
/* USER CODE END 4 */

/* USER CODE BEGIN 5 */
void vApplicationMallocFailedHook(void)
{
   /* vApplicationMallocFailedHook() will only be called if
   configUSE_MALLOC_FAILED_HOOK is set to 1 in FreeRTOSConfig.h. It is a hook
   function that will get called if a call to pvPortMalloc() fails.
   pvPortMalloc() is called internally by the kernel whenever a task, queue,
   timer or semaphore is created. It is also called by various parts of the
   demo application. If heap_1.c or heap_2.c are used, then the size of the
   heap available to pvPortMalloc() is defined by configTOTAL_HEAP_SIZE in
   FreeRTOSConfig.h, and the xPortGetFreeHeapSize() API function can be used
   to query the size of free heap space that remains (although it does not
   provide information on how the remaining heap might be fragmented). */

	fprintf(stderr, "**** MALLOC FAILED ****\n");
}
/* USER CODE END 5 */
